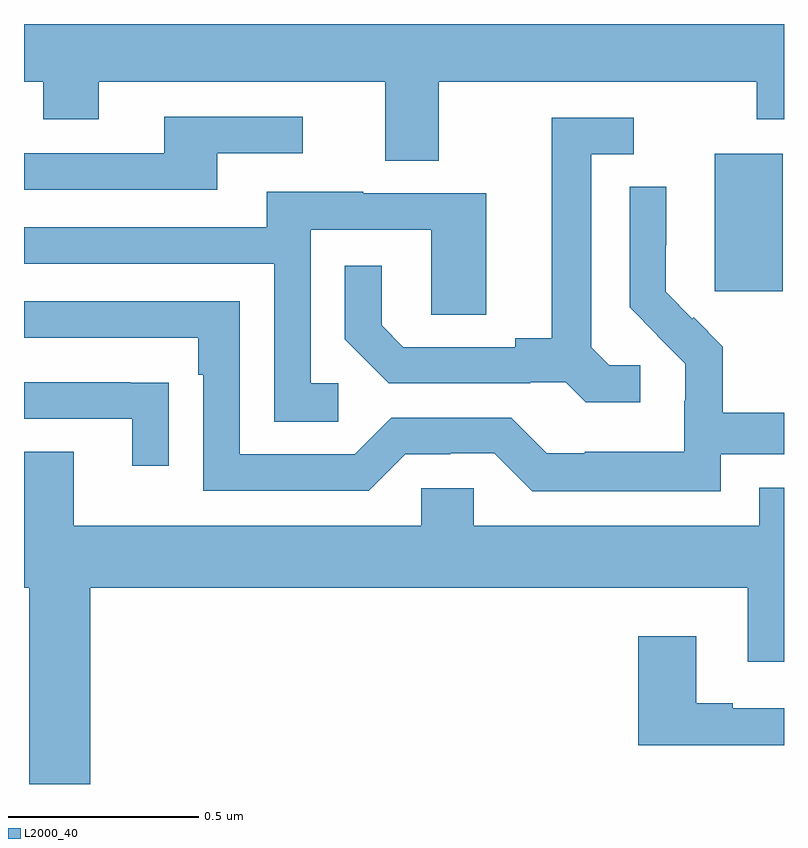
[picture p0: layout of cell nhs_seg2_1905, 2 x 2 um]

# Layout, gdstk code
import gdstk
lib = gdstk.Library(unit=1e-6, precision=1e-09)
def R(c, l, rs):  # rectangles x0, y0, x1, y1
    for r in rs: c.add(gdstk.rectangle(r[:2], r[2:], *l))
def P(c, l, *ps):  # polygons
    for p in ps: c.add(gdstk.Polygon(p, *l))
L2000_40 = (2000, 40)

nhs_seg2_1905 = lib.new_cell('nhs_seg2_1905')
R(nhs_seg2_1905, L2000_40, [(135.818,635.097,135.997,635.458)])
P(nhs_seg2_1905, L2000_40, [(136,635.8),(134,635.8),(134,635.648),(134.05,635.648),(134.05,635.549),(134.197,635.549),(134.197,635.648),(134.951,635.648),(134.951,635.44),(135.091,635.44),(135.091,635.648),(135.928,635.648),(135.928,635.549),(136,635.549)],
  [(134.509,635.46),(134.734,635.46),(134.734,635.556),(134.369,635.556),(134.369,635.46),(134,635.46),(134,635.364),(134.509,635.364)],
  [(135.622,634.902),(135.54,634.902),(135.493,634.949),(135.493,635.457),(135.604,635.457),(135.604,635.553),(135.389,635.553),(135.389,634.973),(135.293,634.973),(135.293,634.95),(134.998,634.95),(134.941,635.007),(134.941,635.164),(134.844,635.164),(134.844,634.97),(134.96,634.854),(135.332,634.854),(135.332,634.857),(135.426,634.857),(135.478,634.805),(135.622,634.805)],
  [(135.834,634.668),(136,634.668),(136,634.777),(135.839,634.777),(135.839,634.951),(135.762,635.028),(135.759,635.025),(135.689,635.096),(135.689,635.218),(135.69,635.218),(135.69,635.372),(135.594,635.372),(135.594,635.054),(135.667,634.981),(135.666,634.98),(135.74,634.906),(135.74,634.809),(135.738,634.809),(135.738,634.675),(135.475,634.675),(135.475,634.671),(135.375,634.671),(135.282,634.764),(134.967,634.764),(134.871,634.668),(134.568,634.668),(134.568,635.07),(134,635.07),(134,634.974),(134.459,634.974),(134.459,634.877),(134.472,634.877),(134.472,634.572),(134.907,634.572),(135.003,634.668),(135.122,634.668),(135.122,634.671),(135.237,634.671),(135.337,634.571),(135.834,634.571)],
  [(134.827,634.854),(134.754,634.854),(134.754,635.259),(135.072,635.259),(135.072,635.035),(135.217,635.035),(135.217,635.355),(134.893,635.355),(134.893,635.359),(134.639,635.359),(134.639,635.265),(134,635.265),(134,635.169),(134.658,635.169),(134.658,634.753),(134.827,634.753)],
  [(134.381,634.856),(134.279,634.856),(134.279,634.857),(134,634.857),(134,634.761),(134.285,634.761),(134.285,634.638),(134.381,634.638)],
  [(134.174,634.316),(135.905,634.316),(135.905,634.122),(136,634.122),(136,634.579),(135.935,634.579),(135.935,634.48),(135.183,634.48),(135.183,634.578),(135.045,634.578),(135.045,634.48),(134.131,634.48),(134.131,634.675),(134,634.675),(134,634.316),(134.014,634.316),(134.014,633.8),(134.174,633.8)],
  [(136,633.999),(135.865,633.999),(135.865,634.012),(135.769,634.012),(135.769,634.189),(135.617,634.189),(135.617,633.902),(136,633.902)])

lib.write_gds('nhs_seg2_1905.gds')
